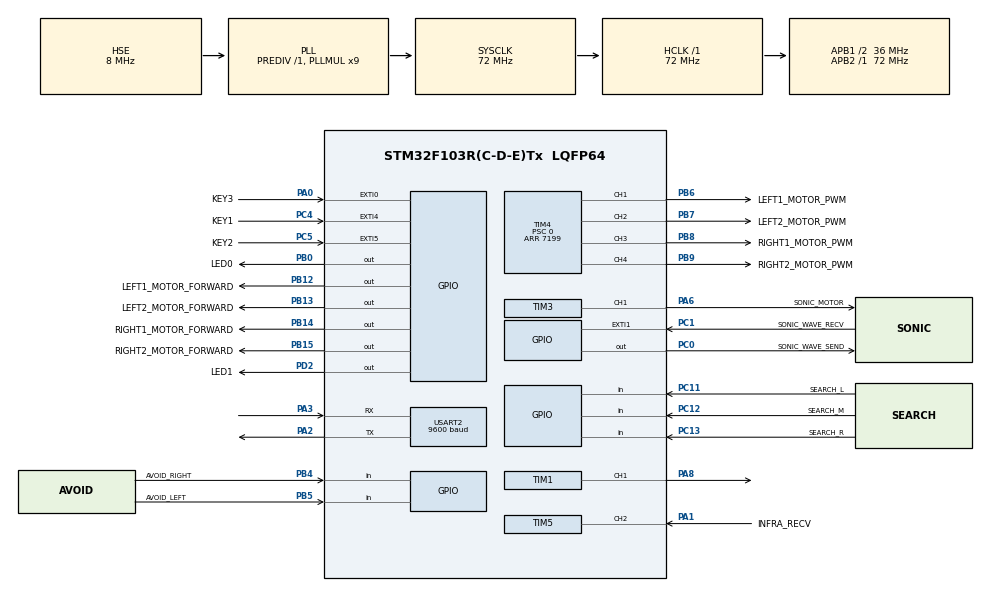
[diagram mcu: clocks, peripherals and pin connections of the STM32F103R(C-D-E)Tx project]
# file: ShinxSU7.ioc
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Mcu.Family=STM32F1
Mcu.Name=STM32F103R(C-D-E)Tx
Mcu.Package=LQFP64
NVIC.EXTI0_IRQn=true\:3\:0\:true\:false\:true\:true\:true\:true
NVIC.EXTI1_IRQn=true\:0\:1\:true\:false\:true\:true\:true\:true
NVIC.EXTI4_IRQn=true\:3\:1\:true\:false\:true\:true\:true\:true
NVIC.EXTI9_5_IRQn=true\:3\:2\:true\:false\:true\:true\:true\:true
NVIC.PriorityGroup=NVIC_PRIORITYGROUP_2
NVIC.TIM5_IRQn=true\:2\:3\:true\:false\:true\:true\:true\:true
NVIC.USART2_IRQn=true\:1\:0\:true\:false\:true\:true\:true\:true
PA0-WKUP.GPIO_Label=KEY3
PA0-WKUP.GPIO_ModeDefaultEXTI=GPIO_MODE_IT_RISING
PA0-WKUP.GPIO_PuPd=GPIO_PULLDOWN
PA0-WKUP.Signal=GPXTI0
PA1.GPIO_Label=INFRA_RECV
PA1.GPIO_PuPd=GPIO_PULLUP
PA1.Signal=S_TIM5_CH2
PA10.Signal=USART1_RX
PA13.Mode=Serial_Wire
PA13.Signal=SYS_JTMS-SWDIO
PA14.Mode=Serial_Wire
PA14.Signal=SYS_JTCK-SWCLK
PA2.Mode=Asynchronous
PA2.Signal=USART2_TX
PA3.Mode=Asynchronous
PA3.Signal=USART2_RX
PA6.GPIO_Label=SONIC_MOTOR
PA6.GPIO_Speed=GPIO_SPEED_FREQ_HIGH
PA6.Signal=S_TIM3_CH1
PA8.Signal=S_TIM1_CH1
PA9.Signal=USART1_TX
PB0.GPIO_Label=LED0
PB0.GPIO_Speed=GPIO_SPEED_FREQ_HIGH
PB0.PinState=GPIO_PIN_SET
PB0.Signal=GPIO_Output
PB12.GPIO_Label=LEFT1_MOTOR_FORWARD
PB12.GPIO_Speed=GPIO_SPEED_FREQ_HIGH
PB12.Signal=GPIO_Output
PB13.GPIO_Label=LEFT2_MOTOR_FORWARD
PB13.GPIO_Speed=GPIO_SPEED_FREQ_HIGH
PB13.Signal=GPIO_Output
PB14.GPIO_Label=RIGHT1_MOTOR_FORWARD
PB14.GPIO_Speed=GPIO_SPEED_FREQ_HIGH
PB14.Signal=GPIO_Output
PB15.GPIO_Label=RIGHT2_MOTOR_FORWARD
PB15.GPIO_Speed=GPIO_SPEED_FREQ_HIGH
PB15.Signal=GPIO_Output
PB4.GPIO_Label=AVOID_RIGHT
PB4.GPIO_PuPd=GPIO_PULLUP
PB4.Signal=GPIO_Input
PB5.GPIO_Label=AVOID_LEFT
PB5.GPIO_PuPd=GPIO_PULLUP
PB5.Signal=GPIO_Input
PB6.GPIO_Label=LEFT1_MOTOR_PWM
PB6.GPIO_ModeDefaultPP=GPIO_MODE_AF_PP
PB6.GPIO_Speed=GPIO_SPEED_FREQ_HIGH
PB6.Signal=S_TIM4_CH1
PB7.GPIO_Label=LEFT2_MOTOR_PWM
PB7.GPIO_Speed=GPIO_SPEED_FREQ_HIGH
PB7.Signal=S_TIM4_CH2
PB8.GPIO_Label=RIGHT1_MOTOR_PWM
PB8.GPIO_Speed=GPIO_SPEED_FREQ_HIGH
PB8.Signal=S_TIM4_CH3
PB9.GPIO_Label=RIGHT2_MOTOR_PWM
PB9.GPIO_Speed=GPIO_SPEED_FREQ_HIGH
PB9.Signal=S_TIM4_CH4
PC0.GPIO_Label=SONIC_WAVE_SEND
PC0.GPIO_Speed=GPIO_SPEED_FREQ_HIGH
PC0.Signal=GPIO_Output
PC1.GPIO_Label=SONIC_WAVE_RECV
PC1.GPIO_ModeDefaultEXTI=GPIO_MODE_IT_RISING
PC1.GPIO_PuPd=GPIO_PULLDOWN
PC1.Signal=GPXTI1
PC11.GPIO_Label=SEARCH_L
PC11.GPIO_PuPd=GPIO_PULLUP
PC11.Signal=GPIO_Input
PC12.GPIO_Label=SEARCH_M
PC12.GPIO_PuPd=GPIO_PULLUP
PC12.Signal=GPIO_Input
PC13-TAMPER-RTC.GPIO_Label=SEARCH_R
PC13-TAMPER-RTC.GPIO_PuPd=GPIO_PULLUP
PC13-TAMPER-RTC.Signal=GPIO_Input
PC4.GPIO_Label=KEY1
PC4.GPIO_ModeDefaultEXTI=GPIO_MODE_IT_FALLING
PC4.GPIO_PuPd=GPIO_PULLUP
PC4.Signal=GPXTI4
PC5.GPIO_Label=KEY2
PC5.GPIO_ModeDefaultEXTI=GPIO_MODE_IT_FALLING
PC5.GPIO_PuPd=GPIO_PULLUP
PC5.Signal=GPXTI5
PD0-OSC_IN.Mode=HSE-External-Oscillator
PD0-OSC_IN.Signal=RCC_OSC_IN
PD1-OSC_OUT.Mode=HSE-External-Oscillator
PD1-OSC_OUT.Signal=RCC_OSC_OUT
PD2.GPIO_Label=LED1
PD2.GPIO_Speed=GPIO_SPEED_FREQ_HIGH
PD2.PinState=GPIO_PIN_SET
PD2.Signal=GPIO_Output
ProjectManager.HeapSize=0x200
ProjectManager.StackSize=0x400
ProjectManager.TargetToolchain=STM32CubeIDE
RCC.AHBFreq_Value=72000000
RCC.APB1CLKDivider=RCC_HCLK_DIV2
RCC.APB1Freq_Value=36000000
RCC.APB1TimFreq_Value=72000000
RCC.APB2Freq_Value=72000000
RCC.APB2TimFreq_Value=72000000
RCC.HCLKFreq_Value=72000000
RCC.PLLMUL=RCC_PLL_MUL9
RCC.PLLSourceVirtual=RCC_PLLSOURCE_HSE
RCC.SYSCLKFreq_VALUE=72000000
RCC.SYSCLKSource=RCC_SYSCLKSOURCE_PLLCLK
RCC.USBFreq_Value=72000000
SH.S_TIM1_CH1.0=TIM1_CH1,PWM Generation1 CH1
SH.S_TIM3_CH1.0=TIM3_CH1,PWM Generation1 CH1
SH.S_TIM4_CH1.0=TIM4_CH1,PWM Generation1 CH1
SH.S_TIM4_CH2.0=TIM4_CH2,PWM Generation2 CH2
SH.S_TIM4_CH3.0=TIM4_CH3,PWM Generation3 CH3
SH.S_TIM4_CH4.0=TIM4_CH4,PWM Generation4 CH4
SH.S_TIM5_CH2.0=TIM5_CH2,Input_Capture2_from_TI2
TIM1.Channel-PWM\ Generation1\ CH1=TIM_CHANNEL_1
TIM1.Period=1000
TIM1.Pulse-PWM\ Generation1\ CH1=500
TIM2.Period=4999
TIM2.Prescaler=7199
TIM3.Channel-PWM\ Generation1\ CH1=TIM_CHANNEL_1
TIM3.OCMode_PWM-PWM\ Generation1\ CH1=TIM_OCMODE_PWM1
TIM3.Period=9999
TIM3.Prescaler=143
TIM4.Channel-PWM\ Generation1\ CH1=TIM_CHANNEL_1
TIM4.Channel-PWM\ Generation2\ CH2=TIM_CHANNEL_2
TIM4.Channel-PWM\ Generation3\ CH3=TIM_CHANNEL_3
TIM4.Channel-PWM\ Generation4\ CH4=TIM_CHANNEL_4
TIM4.OCMode_PWM-PWM\ Generation1\ CH1=TIM_OCMODE_PWM2
TIM4.OCMode_PWM-PWM\ Generation2\ CH2=TIM_OCMODE_PWM2
TIM4.OCMode_PWM-PWM\ Generation3\ CH3=TIM_OCMODE_PWM2
TIM4.OCMode_PWM-PWM\ Generation4\ CH4=TIM_OCMODE_PWM2
TIM4.Period=7199
TIM4.Prescaler=0
TIM5.Channel-Input_Capture2_from_TI2=TIM_CHANNEL_2
TIM5.ICFilter_CH2=8
TIM5.ICPolarity_CH2=TIM_INPUTCHANNELPOLARITY_RISING
TIM5.Period=9999
TIM5.Prescaler=71
TIM5.TIM_MasterOutputTrigger=TIM_TRGO_UPDATE
USART2.BaudRate=9600
USART2.VirtualMode=VM_ASYNC
VP_TIM1_VS_ClockSourceINT.Mode=Internal
VP_TIM2_VS_ClockSourceINT.Mode=Internal
VP_TIM3_VS_ClockSourceINT.Mode=Internal
VP_TIM4_VS_ClockSourceINT.Mode=Internal
VP_TIM5_VS_ClockSourceINT.Mode=Internal
board=custom

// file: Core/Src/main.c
/* USER CODE BEGIN Header */
/**
  ******************************************************************************
  * @file           : main.c
  * @brief          : Main program body
  ******************************************************************************
  * @attention
  *
  * Copyright (c) 2024 STMicroelectronics.
  * All rights reserved.
  *
  * This software is licensed under terms that can be found in the LICENSE file
  * in the root directory of this software component.
  * If no LICENSE file comes with this software, it is provided AS-IS.
  *
  ******************************************************************************
  */
/* USER CODE END Header */
#include "main.h"

/* USER CODE BEGIN Includes */
#include "sonic_motor.h"
#include "motor.h"
#include "infra.h"
#include "bluetooth.h"
#include "scene.h"
#include "control.h"
#include "led.h"
#include "buzzer.h"
#include "ir_follow.h"
/* USER CODE END Includes */

/* USER CODE BEGIN PTD */
SU7Mode_t su7mode = CONTROL_MODE;
/* USER CODE END PTD */

TIM_HandleTypeDef htim1;
TIM_HandleTypeDef htim2;
TIM_HandleTypeDef htim3;
TIM_HandleTypeDef htim4;
TIM_HandleTypeDef htim5;

UART_HandleTypeDef huart2;

/* USER CODE BEGIN PV */
uint8_t SU7Running = 1;
int16_t wayi = 0;
uint8_t rx_data = 0;
/* USER CODE END PV */

void SystemClock_Config(void);
static void MX_GPIO_Init(void);
static void MX_TIM4_Init(void);
static void MX_TIM5_Init(void);
static void MX_TIM3_Init(void);
static void MX_TIM2_Init(void);
static void MX_USART2_UART_Init(void);
static void MX_TIM1_Init(void);

/* USER CODE BEGIN 0 */
volatile CarCmd cmd_queue[CMD_QUEUE_SIZE];
volatile uint8_t cmd_queue_head = 0, cmd_queue_tail = 0;

void enqueue_cmd(int type, int value) {
    uint8_t next = (cmd_queue_head + 1) % CMD_QUEUE_SIZE;
    if(next != cmd_queue_tail) { // not full
        cmd_queue[cmd_queue_head].type = type;
        cmd_queue[cmd_queue_head].value = value;
        cmd_queue_head = next;
    }
}

int dequeue_cmd(CarCmd *cmd) {
    if(cmd_queue_head == cmd_queue_tail) return 0; // empty
    *cmd = cmd_queue[cmd_queue_tail];
    cmd_queue_tail = (cmd_queue_tail + 1) % CMD_QUEUE_SIZE;
    return 1;
}
/* USER CODE END 0 */

int main(void)
{

  /* MCU Configuration--------------------------------------------------------*/

  /* Reset of all peripherals, Initializes the Flash interface and the Systick. */
  HAL_Init();

  /* Configure the system clock */
  SystemClock_Config();

  /* Initialize all configured peripherals */
  MX_GPIO_Init();
  MX_TIM4_Init();
  MX_TIM5_Init();
  MX_TIM3_Init();
  MX_TIM2_Init();
  MX_USART2_UART_Init();
  MX_TIM1_Init();
  /* USER CODE BEGIN 2 */
  IRFollow_Init();
  set_bluetooth_huart(&huart2);
  start_bluetooth_IT();
  // htim2: sonic wave reflection timer
  HAL_TIM_Base_Start_IT(&htim5); // infrared remote receive
  HAL_TIM_IC_Start_IT(&htim5, TIM_CHANNEL_2);
  HAL_TIM_PWM_Start(&htim4, TIM_CHANNEL_1); // wheels PWM
  HAL_TIM_PWM_Start(&htim4, TIM_CHANNEL_2);
  HAL_TIM_PWM_Start(&htim4, TIM_CHANNEL_3);
  HAL_TIM_PWM_Start(&htim4, TIM_CHANNEL_4);
  __HAL_TIM_SetCompare(&htim4, TIM_CHANNEL_1, 0);
  __HAL_TIM_SetCompare(&htim4, TIM_CHANNEL_2, 0);
  __HAL_TIM_SetCompare(&htim4, TIM_CHANNEL_3, 0);
  __HAL_TIM_SetCompare(&htim4, TIM_CHANNEL_4, 0);
  MOTOR_STOP();

  set_buzzer_tim_handler(&htim1);
  start_buzzer();
  stop_buzzer();

  HAL_TIM_PWM_Start(&htim3, TIM_CHANNEL_1); // sonic wave motor PWM
  SetSonicMotor(90);

  LED0_Write(1);
  LED1_Write(1);

  Scene_init(&ShinxScene1);

  /* USER CODE END 2 */
  /* Infinite loop */
    /* USER CODE BEGIN WHILE */
    CarCmd cmd;
  while (1)
    {
//	  Sensor_Static_Test();
      /* USER CODE END WHILE */

      /* USER CODE BEGIN 3 */

      // uint8_t k1_pressed = (HAL_GPIO_ReadPin(GPIOC, KEY1_Pin) == GPIO_PIN_RESET);
      // uint8_t k2_pressed = (HAL_GPIO_ReadPin(GPIOC, KEY2_Pin) == GPIO_PIN_RESET);
      // uint8_t k3_pressed = (HAL_GPIO_ReadPin(KEY3_GPIO_Port, KEY3_Pin) == GPIO_PIN_SET);

      // if (k3_pressed)
      // {
      //     // === K3按下：L1和L2同时闪烁 ===
      //     HAL_GPIO_TogglePin(LED0_GPIO_Port, LED0_Pin); // 翻转 L1
      //     HAL_GPIO_TogglePin(LED1_GPIO_Port, LED1_Pin); // 翻转
      //     Motor_Forward_Distance(100);
      //     HAL_Delay(200); // 延时实现闪烁频率

      //     // // MOTOR_STOP();
      // }
      // else if (k1_pressed)
      // {
      //     HAL_GPIO_WritePin(LED0_GPIO_Port, LED0_Pin, GPIO_PIN_SET);
      //     HAL_GPIO_WritePin(LED1_GPIO_Port, LED1_Pin, GPIO_PIN_RESET);
      //     Motor_Turn_Left(90);
      //     HAL_Delay(200);
      // }
      // else if (k2_pressed)
      // {

      //     HAL_GPIO_WritePin(LED0_GPIO_Port, LED0_Pin, GPIO_PIN_RESET);
      //     HAL_GPIO_WritePin(LED1_GPIO_Port, LED1_Pin, GPIO_PIN_SET);
      //     Motor_Turn_Right(90);
      //     HAL_Delay(200);
      // }
      // else
      // {
      //     HAL_GPIO_WritePin(LED0_GPIO_Port, LED0_Pin, GPIO_PIN_RESET);
      //     HAL_GPIO_WritePin(LED1_GPIO_Port, LED1_Pin, GPIO_PIN_RESET);

      //     // MOTOR_STOP();
      // }

      // HAL_Delay(100); // 防抖延时

	  uint16_t safe_check = 0;
	  if (dequeue_cmd(&cmd)){
		  switch (cmd.type) {
		      case 100:
		    	  su7mode = CONTROL_MODE;
		    	  break;
		      case 200:
		    	  su7mode = IR_FOLLOW_MODE;
		    	  break;
		      default:
		    	  safe_check = 1;
		          break;
		  }
	  }
  if (su7mode == IR_FOLLOW_MODE) {
    // 红外跟随模式：运行跟随循环
    IRTrack_Loop();
    continue; // 本轮不再处理命令队列
  }

  if (safe_check) {
    // 参数范围校验，防止异常值导致危险
    uint16_t safe_dist = (cmd.value > 1000) ? 1000 : (cmd.value); // 最大1米
    uint16_t safe_angle = (cmd.value > 180) ? 180 : (cmd.value);  // 最大180度

    switch (cmd.type) {
        case 0: // 前进
            if (safe_dist > 0)
                Motor_Forward_Distance(safe_dist);
            break;
        case 1: // 保留或后退
            // 可实现后退逻辑
            break;
        case 2: // 左转
            if (safe_angle > 0)
                Motor_Turn_Left(safe_angle);
            break;
        case 3: // 右转
            if (safe_angle > 0)
                Motor_Turn_Right(safe_angle);
            break;
        default:
            // 非法指令报警或忽略
            break;
    }
    // 运动后安全停止，防止卡死
    MOTOR_STOP();
    HAL_Delay(50); // 短暂延时，防止指令粘连
}

    }
    /* USER CODE END 3 */
}
void SystemClock_Config(void)
{
  RCC_OscInitTypeDef RCC_OscInitStruct = {0};
  RCC_ClkInitTypeDef RCC_ClkInitStruct = {0};

  /** Initializes the RCC Oscillators according to the specified parameters
  * in the RCC_OscInitTypeDef structure.
  */
  RCC_OscInitStruct.OscillatorType = RCC_OSCILLATORTYPE_HSE;
  RCC_OscInitStruct.HSEState = RCC_HSE_ON;
  RCC_OscInitStruct.HSEPredivValue = RCC_HSE_PREDIV_DIV1;
  RCC_OscInitStruct.HSIState = RCC_HSI_ON;
  RCC_OscInitStruct.PLL.PLLState = RCC_PLL_ON;
  RCC_OscInitStruct.PLL.PLLSource = RCC_PLLSOURCE_HSE;
  RCC_OscInitStruct.PLL.PLLMUL = RCC_PLL_MUL9;
  if (HAL_RCC_OscConfig(&RCC_OscInitStruct) != HAL_OK)
  {
    Error_Handler();
  }

  /** Initializes the CPU, AHB and APB buses clocks
  */
  RCC_ClkInitStruct.ClockType = RCC_CLOCKTYPE_HCLK|RCC_CLOCKTYPE_SYSCLK
                              |RCC_CLOCKTYPE_PCLK1|RCC_CLOCKTYPE_PCLK2;
  RCC_ClkInitStruct.SYSCLKSource = RCC_SYSCLKSOURCE_PLLCLK;
  RCC_ClkInitStruct.AHBCLKDivider = RCC_SYSCLK_DIV1;
  RCC_ClkInitStruct.APB1CLKDivider = RCC_HCLK_DIV2;
  RCC_ClkInitStruct.APB2CLKDivider = RCC_HCLK_DIV1;

  if (HAL_RCC_ClockConfig(&RCC_ClkInitStruct, FLASH_LATENCY_2) != HAL_OK)
  {
    Error_Handler();
  }
}

static void MX_TIM1_Init(void)
{

  TIM_ClockConfigTypeDef sClockSourceConfig = {0};
  TIM_MasterConfigTypeDef sMasterConfig = {0};
  TIM_OC_InitTypeDef sConfigOC = {0};
  TIM_BreakDeadTimeConfigTypeDef sBreakDeadTimeConfig = {0};

  htim1.Instance = TIM1;
  htim1.Init.Prescaler = 0;
  htim1.Init.CounterMode = TIM_COUNTERMODE_UP;
  htim1.Init.Period = 1000;
  htim1.Init.ClockDivision = TIM_CLOCKDIVISION_DIV1;
  htim1.Init.RepetitionCounter = 0;
  htim1.Init.AutoReloadPreload = TIM_AUTORELOAD_PRELOAD_DISABLE;
  if (HAL_TIM_Base_Init(&htim1) != HAL_OK)
  {
    Error_Handler();
  }
  sClockSourceConfig.ClockSource = TIM_CLOCKSOURCE_INTERNAL;
  if (HAL_TIM_ConfigClockSource(&htim1, &sClockSourceConfig) != HAL_OK)
  {
    Error_Handler();
  }
  if (HAL_TIM_PWM_Init(&htim1) != HAL_OK)
  {
    Error_Handler();
  }
  sMasterConfig.MasterOutputTrigger = TIM_TRGO_RESET;
  sMasterConfig.MasterSlaveMode = TIM_MASTERSLAVEMODE_DISABLE;
  if (HAL_TIMEx_MasterConfigSynchronization(&htim1, &sMasterConfig) != HAL_OK)
  {
    Error_Handler();
  }
  sConfigOC.OCMode = TIM_OCMODE_PWM1;
  sConfigOC.Pulse = 500;
  sConfigOC.OCPolarity = TIM_OCPOLARITY_HIGH;
  sConfigOC.OCNPolarity = TIM_OCNPOLARITY_HIGH;
  sConfigOC.OCFastMode = TIM_OCFAST_DISABLE;
  sConfigOC.OCIdleState = TIM_OCIDLESTATE_RESET;
  sConfigOC.OCNIdleState = TIM_OCNIDLESTATE_RESET;
  if (HAL_TIM_PWM_ConfigChannel(&htim1, &sConfigOC, TIM_CHANNEL_1) != HAL_OK)
  {
    Error_Handler();
  }
  sBreakDeadTimeConfig.OffStateRunMode = TIM_OSSR_DISABLE;
  sBreakDeadTimeConfig.OffStateIDLEMode = TIM_OSSI_DISABLE;
  sBreakDeadTimeConfig.LockLevel = TIM_LOCKLEVEL_OFF;
  sBreakDeadTimeConfig.DeadTime = 0;
  sBreakDeadTimeConfig.BreakState = TIM_BREAK_DISABLE;
  sBreakDeadTimeConfig.BreakPolarity = TIM_BREAKPOLARITY_HIGH;
  sBreakDeadTimeConfig.AutomaticOutput = TIM_AUTOMATICOUTPUT_DISABLE;
  if (HAL_TIMEx_ConfigBreakDeadTime(&htim1, &sBreakDeadTimeConfig) != HAL_OK)
  {
    Error_Handler();
  }
  HAL_TIM_MspPostInit(&htim1);

}

static void MX_TIM2_Init(void)
{

  TIM_ClockConfigTypeDef sClockSourceConfig = {0};
  TIM_MasterConfigTypeDef sMasterConfig = {0};

  htim2.Instance = TIM2;
  htim2.Init.Prescaler = 7199;
  htim2.Init.CounterMode = TIM_COUNTERMODE_UP;
  htim2.Init.Period = 4999;
  htim2.Init.ClockDivision = TIM_CLOCKDIVISION_DIV1;
  htim2.Init.AutoReloadPreload = TIM_AUTORELOAD_PRELOAD_DISABLE;
  if (HAL_TIM_Base_Init(&htim2) != HAL_OK)
  {
    Error_Handler();
  }
  sClockSourceConfig.ClockSource = TIM_CLOCKSOURCE_INTERNAL;
  if (HAL_TIM_ConfigClockSource(&htim2, &sClockSourceConfig) != HAL_OK)
  {
    Error_Handler();
  }
  sMasterConfig.MasterOutputTrigger = TIM_TRGO_RESET;
  sMasterConfig.MasterSlaveMode = TIM_MASTERSLAVEMODE_DISABLE;
  if (HAL_TIMEx_MasterConfigSynchronization(&htim2, &sMasterConfig) != HAL_OK)
  {
    Error_Handler();
  }

}

static void MX_TIM3_Init(void)
{

  TIM_ClockConfigTypeDef sClockSourceConfig = {0};
  TIM_MasterConfigTypeDef sMasterConfig = {0};
  TIM_OC_InitTypeDef sConfigOC = {0};

  htim3.Instance = TIM3;
  htim3.Init.Prescaler = 143;
  htim3.Init.CounterMode = TIM_COUNTERMODE_UP;
  htim3.Init.Period = 9999;
  htim3.Init.ClockDivision = TIM_CLOCKDIVISION_DIV1;
  htim3.Init.AutoReloadPreload = TIM_AUTORELOAD_PRELOAD_DISABLE;
  if (HAL_TIM_Base_Init(&htim3) != HAL_OK)
  {
    Error_Handler();
  }
  sClockSourceConfig.ClockSource = TIM_CLOCKSOURCE_INTERNAL;
  if (HAL_TIM_ConfigClockSource(&htim3, &sClockSourceConfig) != HAL_OK)
  {
    Error_Handler();
  }
  if (HAL_TIM_PWM_Init(&htim3) != HAL_OK)
  {
    Error_Handler();
  }
  sMasterConfig.MasterOutputTrigger = TIM_TRGO_RESET;
  sMasterConfig.MasterSlaveMode = TIM_MASTERSLAVEMODE_DISABLE;
  if (HAL_TIMEx_MasterConfigSynchronization(&htim3, &sMasterConfig) != HAL_OK)
  {
    Error_Handler();
  }
  sConfigOC.OCMode = TIM_OCMODE_PWM1;
  sConfigOC.Pulse = 0;
  sConfigOC.OCPolarity = TIM_OCPOLARITY_HIGH;
  sConfigOC.OCFastMode = TIM_OCFAST_DISABLE;
  if (HAL_TIM_PWM_ConfigChannel(&htim3, &sConfigOC, TIM_CHANNEL_1) != HAL_OK)
  {
    Error_Handler();
  }
  HAL_TIM_MspPostInit(&htim3);

}

static void MX_TIM4_Init(void)
{

  TIM_ClockConfigTypeDef sClockSourceConfig = {0};
  TIM_MasterConfigTypeDef sMasterConfig = {0};
  TIM_OC_InitTypeDef sConfigOC = {0};

  htim4.Instance = TIM4;
  htim4.Init.Prescaler = 0;
  htim4.Init.CounterMode = TIM_COUNTERMODE_UP;
  htim4.Init.Period = 7199;
  htim4.Init.ClockDivision = TIM_CLOCKDIVISION_DIV1;
  htim4.Init.AutoReloadPreload = TIM_AUTORELOAD_PRELOAD_DISABLE;
  if (HAL_TIM_Base_Init(&htim4) != HAL_OK)
  {
    Error_Handler();
  }
  sClockSourceConfig.ClockSource = TIM_CLOCKSOURCE_INTERNAL;
  if (HAL_TIM_ConfigClockSource(&htim4, &sClockSourceConfig) != HAL_OK)
  {
    Error_Handler();
  }
  if (HAL_TIM_PWM_Init(&htim4) != HAL_OK)
  {
    Error_Handler();
  }
  sMasterConfig.MasterOutputTrigger = TIM_TRGO_RESET;
  sMasterConfig.MasterSlaveMode = TIM_MASTERSLAVEMODE_DISABLE;
  if (HAL_TIMEx_MasterConfigSynchronization(&htim4, &sMasterConfig) != HAL_OK)
  {
    Error_Handler();
  }
  sConfigOC.OCMode = TIM_OCMODE_PWM2;
  sConfigOC.Pulse = 0;
  sConfigOC.OCPolarity = TIM_OCPOLARITY_HIGH;
  sConfigOC.OCFastMode = TIM_OCFAST_DISABLE;
  if (HAL_TIM_PWM_ConfigChannel(&htim4, &sConfigOC, TIM_CHANNEL_1) != HAL_OK)
  {
    Error_Handler();
  }
  if (HAL_TIM_PWM_ConfigChannel(&htim4, &sConfigOC, TIM_CHANNEL_2) != HAL_OK)
  {
    Error_Handler();
  }
  if (HAL_TIM_PWM_ConfigChannel(&htim4, &sConfigOC, TIM_CHANNEL_3) != HAL_OK)
  {
    Error_Handler();
  }
  if (HAL_TIM_PWM_ConfigChannel(&htim4, &sConfigOC, TIM_CHANNEL_4) != HAL_OK)
  {
    Error_Handler();
  }
  HAL_TIM_MspPostInit(&htim4);

}

static void MX_TIM5_Init(void)
{

  TIM_ClockConfigTypeDef sClockSourceConfig = {0};
  TIM_MasterConfigTypeDef sMasterConfig = {0};
  TIM_IC_InitTypeDef sConfigIC = {0};

  htim5.Instance = TIM5;
  htim5.Init.Prescaler = 71;
  htim5.Init.CounterMode = TIM_COUNTERMODE_UP;
  htim5.Init.Period = 9999;
  htim5.Init.ClockDivision = TIM_CLOCKDIVISION_DIV1;
  htim5.Init.AutoReloadPreload = TIM_AUTORELOAD_PRELOAD_DISABLE;
  if (HAL_TIM_Base_Init(&htim5) != HAL_OK)
  {
    Error_Handler();
  }
  sClockSourceConfig.ClockSource = TIM_CLOCKSOURCE_INTERNAL;
  if (HAL_TIM_ConfigClockSource(&htim5, &sClockSourceConfig) != HAL_OK)
  {
    Error_Handler();
  }
  if (HAL_TIM_IC_Init(&htim5) != HAL_OK)
  {
    Error_Handler();
  }
  sMasterConfig.MasterOutputTrigger = TIM_TRGO_UPDATE;
  sMasterConfig.MasterSlaveMode = TIM_MASTERSLAVEMODE_DISABLE;
  if (HAL_TIMEx_MasterConfigSynchronization(&htim5, &sMasterConfig) != HAL_OK)
  {
    Error_Handler();
  }
  sConfigIC.ICPolarity = TIM_INPUTCHANNELPOLARITY_RISING;
  sConfigIC.ICSelection = TIM_ICSELECTION_DIRECTTI;
  sConfigIC.ICPrescaler = TIM_ICPSC_DIV1;
  sConfigIC.ICFilter = 8;
  if (HAL_TIM_IC_ConfigChannel(&htim5, &sConfigIC, TIM_CHANNEL_2) != HAL_OK)
  {
    Error_Handler();
  }

}

static void MX_USART2_UART_Init(void)
{

  huart2.Instance = USART2;
  huart2.Init.BaudRate = 9600;
  huart2.Init.WordLength = UART_WORDLENGTH_8B;
  huart2.Init.StopBits = UART_STOPBITS_1;
  huart2.Init.Parity = UART_PARITY_NONE;
  huart2.Init.Mode = UART_MODE_TX_RX;
  huart2.Init.HwFlowCtl = UART_HWCONTROL_NONE;
  huart2.Init.OverSampling = UART_OVERSAMPLING_16;
  if (HAL_UART_Init(&huart2) != HAL_OK)
  {
    Error_Handler();
  }

}

static void MX_GPIO_Init(void)
{
  GPIO_InitTypeDef GPIO_InitStruct = {0};

  /* GPIO Ports Clock Enable */
  __HAL_RCC_GPIOC_CLK_ENABLE();
  __HAL_RCC_GPIOD_CLK_ENABLE();
  __HAL_RCC_GPIOA_CLK_ENABLE();
  __HAL_RCC_GPIOB_CLK_ENABLE();

  /*Configure GPIO pin Output Level */
  HAL_GPIO_WritePin(SONIC_WAVE_SEND_GPIO_Port, SONIC_WAVE_SEND_Pin, GPIO_PIN_RESET);

  /*Configure GPIO pin Output Level */
  HAL_GPIO_WritePin(LED0_GPIO_Port, LED0_Pin, GPIO_PIN_SET);

  /*Configure GPIO pin Output Level */
  HAL_GPIO_WritePin(GPIOB, LEFT1_MOTOR_FORWARD_Pin|LEFT2_MOTOR_FORWARD_Pin|RIGHT1_MOTOR_FORWARD_Pin|RIGHT2_MOTOR_FORWARD_Pin, GPIO_PIN_RESET);

  /*Configure GPIO pin Output Level */
  HAL_GPIO_WritePin(LED1_GPIO_Port, LED1_Pin, GPIO_PIN_SET);

  /*Configure GPIO pins : SEARCH_R_Pin SEARCH_L_Pin SEARCH_M_Pin */
  GPIO_InitStruct.Pin = SEARCH_R_Pin|SEARCH_L_Pin|SEARCH_M_Pin;
  GPIO_InitStruct.Mode = GPIO_MODE_INPUT;
  GPIO_InitStruct.Pull = GPIO_PULLUP;
  HAL_GPIO_Init(GPIOC, &GPIO_InitStruct);

  /*Configure GPIO pin : SONIC_WAVE_SEND_Pin */
  GPIO_InitStruct.Pin = SONIC_WAVE_SEND_Pin;
  GPIO_InitStruct.Mode = GPIO_MODE_OUTPUT_PP;
  GPIO_InitStruct.Pull = GPIO_NOPULL;
  GPIO_InitStruct.Speed = GPIO_SPEED_FREQ_HIGH;
  HAL_GPIO_Init(SONIC_WAVE_SEND_GPIO_Port, &GPIO_InitStruct);

  /*Configure GPIO pin : SONIC_WAVE_RECV_Pin */
  GPIO_InitStruct.Pin = SONIC_WAVE_RECV_Pin;
  GPIO_InitStruct.Mode = GPIO_MODE_IT_RISING;
  GPIO_InitStruct.Pull = GPIO_PULLDOWN;
  HAL_GPIO_Init(SONIC_WAVE_RECV_GPIO_Port, &GPIO_InitStruct);

  /*Configure GPIO pin : KEY3_Pin */
  GPIO_InitStruct.Pin = KEY3_Pin;
  GPIO_InitStruct.Mode = GPIO_MODE_INPUT;
  GPIO_InitStruct.Pull = GPIO_PULLDOWN;
  HAL_GPIO_Init(KEY3_GPIO_Port, &GPIO_InitStruct);

  /*Configure GPIO pins : KEY1_Pin KEY2_Pin */
  GPIO_InitStruct.Pin = KEY1_Pin|KEY2_Pin;
  GPIO_InitStruct.Mode = GPIO_MODE_INPUT;
  GPIO_InitStruct.Pull = GPIO_PULLUP;
  HAL_GPIO_Init(GPIOC, &GPIO_InitStruct);

  /*Configure GPIO pins : LED0_Pin LEFT1_MOTOR_FORWARD_Pin LEFT2_MOTOR_FORWARD_Pin RIGHT1_MOTOR_FORWARD_Pin
                           RIGHT2_MOTOR_FORWARD_Pin */
  GPIO_InitStruct.Pin = LED0_Pin|LEFT1_MOTOR_FORWARD_Pin|LEFT2_MOTOR_FORWARD_Pin|RIGHT1_MOTOR_FORWARD_Pin
                          |RIGHT2_MOTOR_FORWARD_Pin;
  GPIO_InitStruct.Mode = GPIO_MODE_OUTPUT_PP;
  GPIO_InitStruct.Pull = GPIO_NOPULL;
  GPIO_InitStruct.Speed = GPIO_SPEED_FREQ_HIGH;
  HAL_GPIO_Init(GPIOB, &GPIO_InitStruct);

  /*Configure GPIO pin : PA9 */
  GPIO_InitStruct.Pin = GPIO_PIN_9;
  GPIO_InitStruct.Mode = GPIO_MODE_AF_PP;
  GPIO_InitStruct.Speed = GPIO_SPEED_FREQ_HIGH;
  HAL_GPIO_Init(GPIOA, &GPIO_InitStruct);

  /*Configure GPIO pin : PA10 */
  GPIO_InitStruct.Pin = GPIO_PIN_10;
  GPIO_InitStruct.Mode = GPIO_MODE_INPUT;
  GPIO_InitStruct.Pull = GPIO_NOPULL;
  HAL_GPIO_Init(GPIOA, &GPIO_InitStruct);

  /*Configure GPIO pin : LED1_Pin */
  GPIO_InitStruct.Pin = LED1_Pin;
  GPIO_InitStruct.Mode = GPIO_MODE_OUTPUT_PP;
  GPIO_InitStruct.Pull = GPIO_NOPULL;
  GPIO_InitStruct.Speed = GPIO_SPEED_FREQ_HIGH;
  HAL_GPIO_Init(LED1_GPIO_Port, &GPIO_InitStruct);

  /*Configure GPIO pins : AVOID_RIGHT_Pin AVOID_LEFT_Pin */
  GPIO_InitStruct.Pin = AVOID_RIGHT_Pin|AVOID_LEFT_Pin;
  GPIO_InitStruct.Mode = GPIO_MODE_INPUT;
  GPIO_InitStruct.Pull = GPIO_PULLUP;
  HAL_GPIO_Init(GPIOB, &GPIO_InitStruct);

  /* EXTI interrupt init*/
//  HAL_NVIC_SetPriority(EXTI0_IRQn, 3, 0);
//  HAL_NVIC_EnableIRQ(EXTI0_IRQn);
//
//  HAL_NVIC_SetPriority(EXTI1_IRQn, 0, 1);
//  HAL_NVIC_EnableIRQ(EXTI1_IRQn);
//
//  HAL_NVIC_SetPriority(EXTI4_IRQn, 3, 1);
//  HAL_NVIC_EnableIRQ(EXTI4_IRQn);
//
//  HAL_NVIC_SetPriority(EXTI9_5_IRQn, 3, 2);
//  HAL_NVIC_EnableIRQ(EXTI9_5_IRQn);

}

/* USER CODE BEGIN 4 */
uint8_t set_control_mode(){
  if (SU7Running) {
    return 0xf1;
  } else {
    su7mode = CONTROL_MODE;
    return 0x00;
  }
}
uint8_t set_waypoint_mode(){
  if (SU7Running) {
    return 0xf1;
  } else {
    su7mode = WAYPOINT_MODE;
    return 0x00;
  }
}
uint8_t set_autopilot_mode(){
  if (SU7Running) {
    return 0xf1;
  } else {
    su7mode = AUTOPILOT_MODE;
    return 0x00;
  }
}
uint8_t set_auto_race_mode(){
  if (SU7Running) {
    return 0xf1;
  } else {
    su7mode = AUTO_RACE_MODE;
    return 0x00;
  }
}
uint8_t set_ir_follow_mode(){
  if (SU7Running) {
    return 0xf1;
  } else {
    su7mode = IR_FOLLOW_MODE;
    return 0x00;
  }
}
void start_mode(){
  wayi = 0;
  SU7Running = 1;

  control_init();
  if (su7mode == IR_FOLLOW_MODE) {
    IRFollow_Enable(1);
  }
}
void end_mode() {
  SU7Running = 0;
  MOTOR_STOP();
  if (su7mode == IR_FOLLOW_MODE) {
    IRFollow_Enable(0);
  }
}
void toggle_mode() {
  if (SU7Running) {
    end_mode();
  } else {
    start_mode();
  }
}

void Sensor_Static_Test(void)
{
    // 1. 安全第一：先强制停止所有电机
    MOTOR_STOP();

    // 2. 提示测试开始：LED闪烁两次
    for(int i=0; i<2; i++) {
        HAL_GPIO_WritePin(LED0_GPIO_Port, LED0_Pin, GPIO_PIN_RESET); // 亮
        HAL_GPIO_WritePin(LED1_GPIO_Port, LED1_Pin, GPIO_PIN_RESET);
        HAL_Delay(200);
        HAL_GPIO_WritePin(LED0_GPIO_Port, LED0_Pin, GPIO_PIN_SET);   // 灭
        HAL_GPIO_WritePin(LED1_GPIO_Port, LED1_Pin, GPIO_PIN_SET);
        HAL_Delay(200);
    }

    // 3. 进入死循环测试
    while(1)
    {
        // --- 测试左传感器 (应该接在 P5/PB5) ---
        // 传感器逻辑：有障碍物 = 低电平(RESET)
        if (HAL_GPIO_ReadPin(AVOID_LEFT_GPIO_Port, AVOID_LEFT_Pin) == GPIO_PIN_RESET)
        {
            // 检测到障碍物 -> 点亮 LED0
            // 注意：通常LED是低电平点亮，如果反了就改一下 SET/RESET
            HAL_GPIO_WritePin(LED0_GPIO_Port, LED0_Pin, GPIO_PIN_RESET);
        }
        else
        {
            // 没检测到 -> 熄灭 LED0
            HAL_GPIO_WritePin(LED0_GPIO_Port, LED0_Pin, GPIO_PIN_SET);
        }

        // --- 测试右传感器 (应该接在 P1/PB4) ---
        // 传感器逻辑：有障碍物 = 低电平(RESET)
        if (HAL_GPIO_ReadPin(AVOID_RIGHT_GPIO_Port, AVOID_RIGHT_Pin) == GPIO_PIN_RESET)
        {
            // 检测到障碍物 -> 点亮 LED1
            HAL_GPIO_WritePin(LED1_GPIO_Port, LED1_Pin, GPIO_PIN_RESET);
        }
        else
        {
            // 没检测到 -> 熄灭 LED1
            HAL_GPIO_WritePin(LED1_GPIO_Port, LED1_Pin, GPIO_PIN_SET);
        }

        HAL_Delay(10); // 短延时，防抖动
    }
}

/* USER CODE END 4 */

void Error_Handler(void)
{
  __disable_irq();
  while (1)
  {
  }
}
